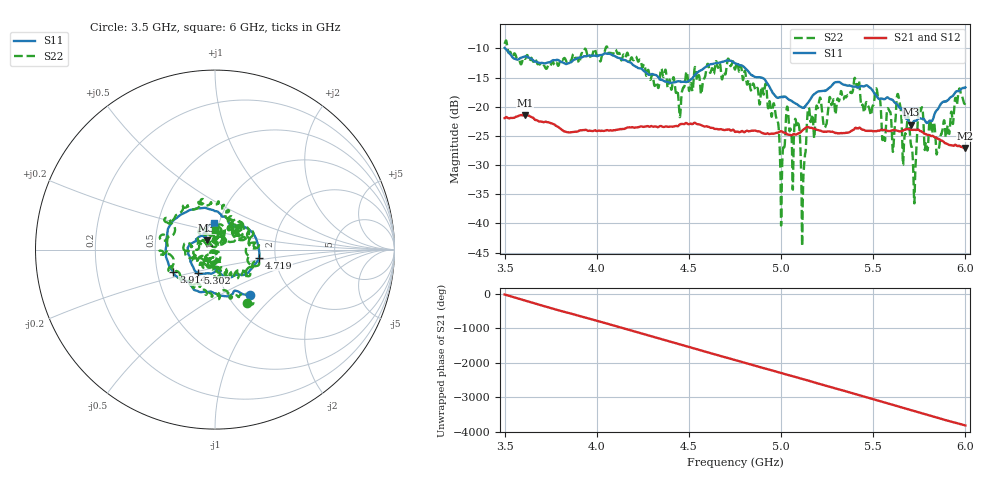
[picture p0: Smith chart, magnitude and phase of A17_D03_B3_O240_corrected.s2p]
! Created with skrf 1.9.0 (http://scikit-rf.org).
# Hz S RI R 50.0
!freq ReS11 ImS11 ReS21 ImS21 ReS12 ImS12 ReS22 ImS22
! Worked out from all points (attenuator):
!   1601 points, 3.5 GHz to 6 GHz, reference 50 ohm
!   highest |S21| = -21.41 dB at 3.611 GHz (marker M1); lowest = -27.1 dB at 6 GHz (marker M2)
!   lowest |S11| = -23.1 dB at 5.705 GHz (marker M3), VSWR 1.15, Z = 45.3 + j4.8 ohm
!   |S11| at or under -10 dB: 3.503 GHz to end of sweep
!   |S22| runs from -43.9 to -8.6 dB; largest |S21 - S12| = 0.00095
!   S11 on the Smith chart (normalised r, x): 3.5 GHz: 1.26, -0.71; 3.914 GHz: 0.61, -0.16; 4.719 GHz: 1.64, -0.16; 5.302 GHz: 0.80, -0.21; 6 GHz: 0.95, +0.28
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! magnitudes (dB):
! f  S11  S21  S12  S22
! 3.5 GHz  -9.9  -21.9  -21.9  -9.2
! 3.611 GHz  -11.4  -21.4  -21.4  -11.8
! 3.914 GHz  -11.6  -24.0  -24.0  -11.1
! 3.917 GHz  -11.5  -24.0  -24.0  -10.8
! 4.334 GHz  -15.0  -23.5  -23.4  -16.8
! 4.452 GHz  -15.6  -23.0  -23.0  -21.8
! 4.719 GHz  -12.1  -23.9  -23.9  -12.2
! 4.75 GHz  -12.5  -24.3  -24.2  -13.6
! 4.967 GHz  -18.1  -24.5  -24.5  -20.6
! 5.005 GHz  -18.3  -24.2  -24.2  -31.5
! 5.033 GHz  -18.5  -24.7  -24.6  -20.0
! 5.086 GHz  -19.6  -24.7  -24.7  -23.5
! 5.12 GHz  -20.2  -23.9  -23.9  -32.7
! 5.144 GHz  -19.4  -23.5  -23.4  -21.1
! 5.167 GHz  -18.3  -23.6  -23.6  -21.4
! 5.302 GHz  -15.8  -24.5  -24.5  -19.6
! 5.584 GHz  -18.5  -24.1  -24.1  -20.5
! 5.705 GHz  -23.1  -24.0  -23.9  -26.5
! 5.722 GHz  -22.4  -23.9  -23.9  -36.3
! 5.756 GHz  -22.0  -24.2  -24.1  -20.8
! 5.852 GHz  -20.4  -25.5  -25.4  -27.3
! 6 GHz  -16.7  -27.1  -27.0  -19.3
